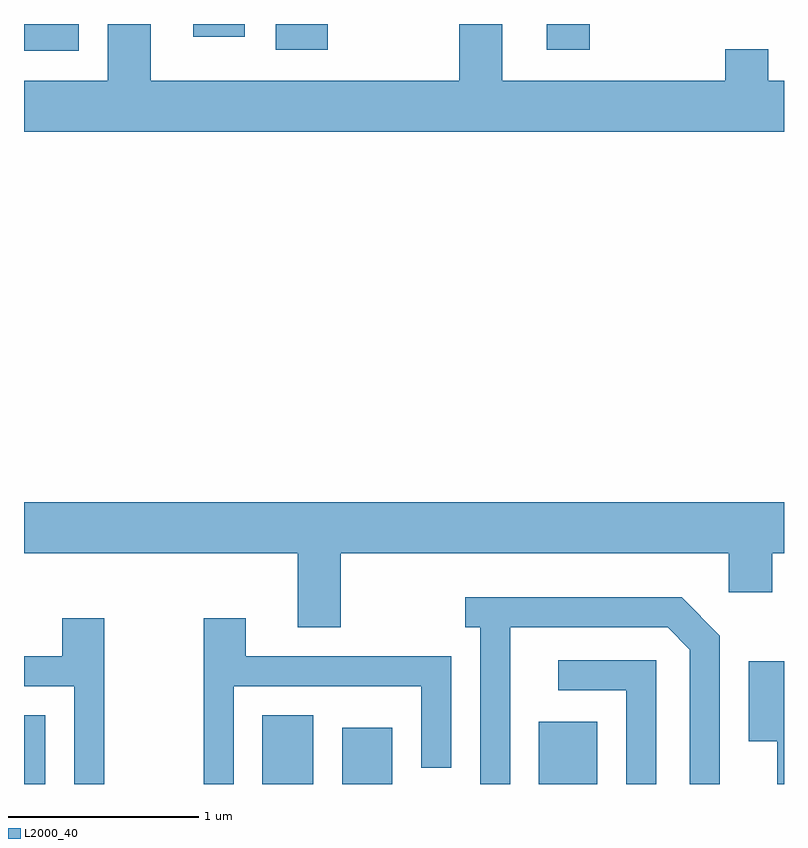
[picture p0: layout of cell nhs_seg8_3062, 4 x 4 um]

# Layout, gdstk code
import gdstk
lib = gdstk.Library(unit=1e-6, precision=1e-09)
def R(c, l, rs):  # rectangles x0, y0, x1, y1
    for r in rs: c.add(gdstk.rectangle(r[:2], r[2:], *l))
def P(c, l, *ps):  # polygons
    for p in ps: c.add(gdstk.Polygon(p, *l))
L2000_40 = (2000, 40)

nhs_seg8_3062 = lib.new_cell('nhs_seg8_3062')
R(nhs_seg8_3062, L2000_40, [(277.611,1806.342,277.724,1806.704), (278.866,1806.342,279.134,1806.704), (279.286,1806.342,279.549,1806.639), (280.321,1806.342,280.629,1806.669), (277.611,1810.201,277.899,1810.342), (278.936,1810.206,279.209,1810.342), (280.361,1810.206,280.589,1810.342), (278.503,1810.276,278.774,1810.342)])
P(nhs_seg8_3062, L2000_40, [(281.611,1810.044),(281.529,1810.044),(281.529,1810.209),(281.301,1810.209),(281.301,1810.044),(280.129,1810.044),(280.129,1810.342),(279.901,1810.342),(279.901,1810.044),(278.279,1810.044),(278.279,1810.342),(278.051,1810.342),(278.051,1810.044),(277.611,1810.044),(277.611,1809.776),(281.611,1809.776)],
  [(279.279,1807.556),(281.321,1807.556),(281.321,1807.351),(281.549,1807.351),(281.549,1807.556),(281.611,1807.556),(281.611,1807.824),(277.611,1807.824),(277.611,1807.556),(279.051,1807.556),(279.051,1807.166),(279.279,1807.166)],
  [(280.169,1807.166),(280.999,1807.166),(281.116,1807.049),(281.116,1806.342),(281.274,1806.342),(281.274,1807.122),(281.072,1807.324),(279.933,1807.324),(279.933,1807.166),(280.011,1807.166),(280.011,1806.342),(280.169,1806.342)],
  [(278.714,1806.856),(279.701,1806.856),(279.701,1806.428),(279.859,1806.428),(279.859,1807.014),(278.779,1807.014),(278.779,1807.214),(278.556,1807.214),(278.556,1806.342),(278.714,1806.342)],
  [(278.034,1807.214),(277.811,1807.214),(277.811,1807.014),(277.611,1807.014),(277.611,1806.856),(277.876,1806.856),(277.876,1806.342),(278.034,1806.342)],
  [(280.939,1806.994),(280.423,1806.994),(280.423,1806.836),(280.781,1806.836),(280.781,1806.342),(280.939,1806.342)],
  [(281.611,1806.989),(281.426,1806.989),(281.426,1806.566),(281.576,1806.566),(281.576,1806.342),(281.611,1806.342)])

lib.write_gds('nhs_seg8_3062.gds')
